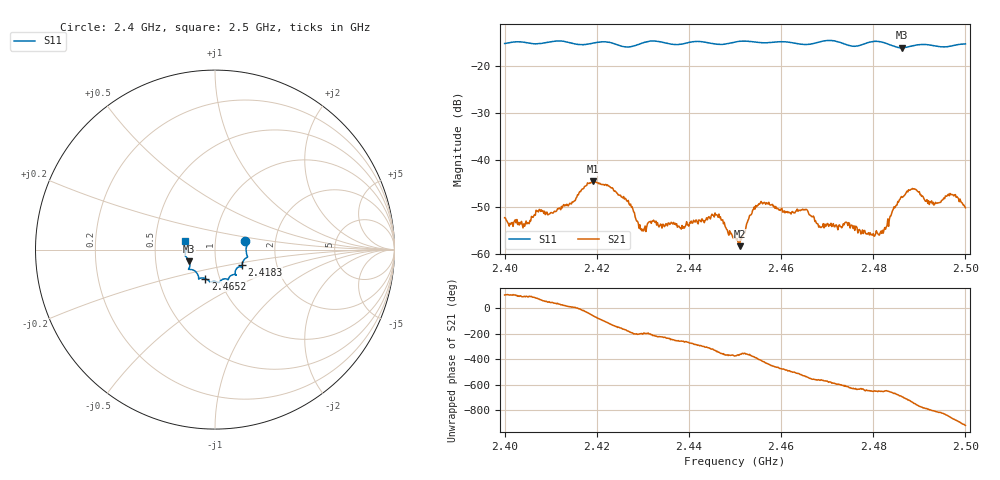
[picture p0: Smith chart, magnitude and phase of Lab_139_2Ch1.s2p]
# Hz S RI R 50
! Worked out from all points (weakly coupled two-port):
!   601 points, 2.4 GHz to 2.5 GHz, reference 50 ohm
!   highest |S21| = -44.53 dB at 2.4192 GHz (marker M1); lowest = -58.4 dB at 2.451 GHz (marker M2)
!   lowest |S11| = -16.1 dB at 2.4862 GHz (marker M3), VSWR 1.37, Z = 37.2 - j4.89 ohm
!   |S11| at or under -10 dB: start of sweep to end of sweep
!   S12 and S22 are empty: the file has one direction only
!   S11 on the Smith chart (normalised r, x): 2.4 GHz: 1.40, +0.14; 2.4183 GHz: 1.33, -0.24; 2.4652 GHz: 0.85, -0.28; 2.5 GHz: 0.71, +0.07
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2.4e9  0.1678 0.0471  -0.000626 0.00234  0 0  0 0
2.404333e9  0.1778 0.0241  -0.000169 0.00196  0 0  0 0
2.416667e9  0.1552 -0.068  0.0047 -0.000917  0 0  0 0
2.418333e9  0.1499 -0.0861  0.00429 -0.00364  0 0  0 0
2.419167e9  0.1495 -0.0931  0.00323 -0.00498  0 0  0 0
2.426333e9  0.1233 -0.1023  -0.00377 -0.000685  0 0  0 0
2.429667e9  0.1127 -0.1336  -0.00176 0.000561  0 0  0 0
2.433333e9  0.1171 -0.1414  -0.00147 0.00137  0 0  0 0
2.446167e9  0.0525 -0.163  0.00238 0.000992  0 0  0 0
2.45e9  0.0257 -0.1794  0.00143 -0.000367  0 0  0 0
2.451e9  0.0228 -0.1828  0.0012 -7.09e-05  0 0  0 0
2.455333e9  0.00543 -0.1786  0.00246 -0.00234  0 0  0 0
2.465167e9  -0.0544 -0.1614  -0.0029 -0.000413  0 0  0 0
2.466667e9  -0.0707 -0.1578  -0.00239 0.000692  0 0  0 0
2.4685e9  -0.0861 -0.1607  -0.00172 0.000841  0 0  0 0
2.48e9  -0.1465 -0.1103  0.000666 0.0015  0 0  0 0
2.483333e9  -0.1413 -0.0966  0.000732 0.00182  0 0  0 0
2.486167e9  -0.1433 -0.0642  0.00362 0.00188  0 0  0 0
2.488833e9  -0.1609 -0.0411  0.00439 -0.00228  0 0  0 0
2.491833e9  -0.1669 -0.0284  0.00103 -0.00329  0 0  0 0
2.497167e9  -0.1628 0.0279  -0.00348 -0.00246  0 0  0 0
2.5e9  -0.1659 0.0475  -0.00291 0.00106  0 0  0 0
